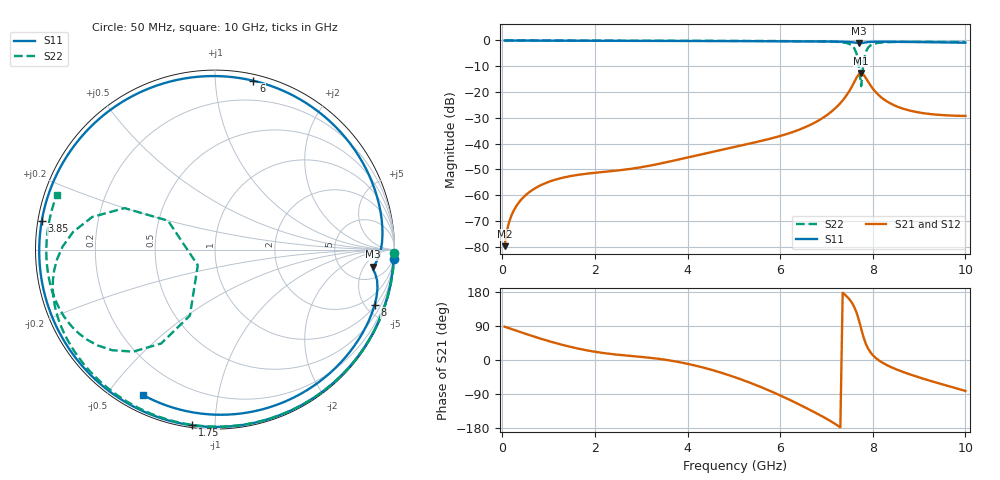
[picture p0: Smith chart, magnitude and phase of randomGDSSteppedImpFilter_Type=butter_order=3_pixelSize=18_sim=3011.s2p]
! freq	dB(S11)	phase(S11)	dB(S12)	phase(S12)
!  dB(S21)	phase(S21)	dB(S22)	phase(S22)
!S-par simulation data
#  GHz  S  DB  R 50
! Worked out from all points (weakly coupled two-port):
!   200 points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, 50 MHz to 10 GHz, reference 50 ohm
!   highest |S21| = -12.62 dB at 7.75 GHz (marker M1); lowest = -79.8 dB at 50 MHz (marker M2)
!   lowest |S11| = -1.0 dB at 7.7 GHz (marker M3), VSWR 16.58, Z = 462 - j410 ohm
!   |S11| at or under -10 dB: nowhere
!   |S22| runs from -17.7 to 0.0 dB; largest |S21 - S12| = 0
!   S11 on the Smith chart (normalised r, x): 50 MHz: 3, -39; 1.75 GHz: 0.01, -0.88; 3.85 GHz: 0.01, +0.08; 6 GHz: 0.05, +1.25; 8 GHz: 1.07, -5.77; 10 GHz: 0.07, -0.62
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0.05  -0.03 -2.9  -79.79 87.9  -79.79 87.9  -0.00 -1.2
0.1  -0.03 -5.9  -73.78 85.8  -73.78 85.8  -0.01 -2.4
0.2  -0.04 -11.9  -67.79 81.6  -67.79 81.6  -0.01 -4.9
0.5  -0.05 -29.6  -60.07 69.2  -60.07 69.2  -0.02 -12.3
1.15  -0.08 -66.4  -53.97 44.8  -53.97 44.8  -0.03 -28.0
1.75  -0.11 -97.4  -51.84 27.2  -51.84 27.2  -0.05 -42.3
2.6  -0.14 -136.9  -50.20 12.6  -50.20 12.6  -0.08 -61.7
3.4  -0.17 -170.8  -47.79 2.7  -47.79 2.7  -0.10 -79.2
3.85  -0.19 170.6  -46.00 -6.2  -46.00 -6.2  -0.12 -88.8
5.05  -0.25 120.2  -41.16 -46.6  -41.16 -46.6  -0.17 -113.2
6  -0.31 77.2  -37.06 -93.4  -37.06 -93.4  -0.23 -132.4
6.7  -0.37 43.3  -32.31 -135.2  -32.31 -135.2  -0.32 -147.7
7.45  -0.57 5.1  -20.83 166.4  -20.83 166.4  -1.09 -176.4
7.6  -0.79 -2.6  -16.14 139.9  -16.14 139.9  -2.99 165.2
7.7  -1.05 -6.2  -13.08 105.4  -13.08 105.4  -10.26 148.4
7.75  -1.04 -7.1  -12.62 82.2  -12.62 82.2  -17.73 -137.7
7.8  -0.89 -8.5  -13.26 60.2  -13.26 60.2  -8.10 -110.8
7.85  -0.73 -10.8  -14.57 42.8  -14.57 42.8  -4.39 -119.8
8  -0.53 -19.0  -18.66 12.9  -18.66 12.9  -1.46 -140.9
8.35  -0.51 -37.2  -24.12 -16.2  -24.12 -16.2  -0.64 -160.0
9.2  -0.67 -78.4  -28.47 -53.4  -28.47 -53.4  -0.54 178.0
10  -0.88 -116.3  -29.28 -81.6  -29.28 -81.6  -0.60 161.0
